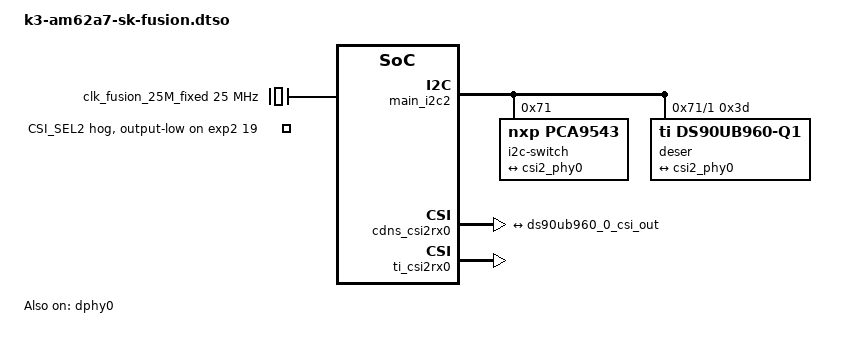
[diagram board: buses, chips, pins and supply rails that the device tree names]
// SPDX-License-Identifier: GPL-2.0
/*
 * DT Overlay for Fusion (FPD-Link III) board on SK-AM62A
 * Copyright (C) 2023 Texas Instruments Incorporated - http://www.ti.com/
 */

/dts-v1/;
/plugin/;

#include <dt-bindings/gpio/gpio.h>

&{/} {
	clk_fusion_25M_fixed: fixed-clock-25M {
		compatible = "fixed-clock";
		#clock-cells = <0>;
		clock-frequency = <25000000>;
	};
};

&exp2 {
	p19-hog {
		/* P19 - CSI_SEL2 */
		gpio-hog;
		gpios = <19 GPIO_ACTIVE_HIGH>;
		output-low;
		line-name = "CSI_SEL2";
	};
};

&main_i2c2 {
	#address-cells = <1>;
	#size-cells = <0>;
	status = "okay";

	i2c-switch@71 {
		compatible = "nxp,pca9543";
		#address-cells = <1>;
		#size-cells = <0>;
		reg = <0x71>;

		i2c@1 {
			#address-cells = <1>;
			#size-cells = <0>;
			reg = <1>;

			deser@3d {
				compatible = "ti,ds90ub960-q1";
				reg = <0x3d>;

				clock-names = "refclk";
				clocks = <&clk_fusion_25M_fixed>;

				i2c-alias-pool = <0x4a 0x4b 0x4c 0x4d 0x4e 0x4f>;

				ds90ub960_0_ports: ports {
					#address-cells = <1>;
					#size-cells = <0>;

					/* CSI-2 TX */
					port@4 {
						reg = <4>;
						ds90ub960_0_csi_out: endpoint {
							data-lanes = <1 2 3 4>;
							clock-lanes = <0>;
							link-frequencies = /bits/ 64 <800000000>;
							remote-endpoint = <&csi2_phy0>;
						};
					};
				};

				ds90ub960_0_links: links {
					#address-cells = <1>;
					#size-cells = <0>;
				};
			};
		};
	};
};

&cdns_csi2rx0 {
	ports {
		#address-cells = <1>;
		#size-cells = <0>;

		csi0_port0: port@0 {
			reg = <0>;
			status = "okay";

			csi2_phy0: endpoint {
				remote-endpoint = <&ds90ub960_0_csi_out>;
				data-lanes = <1 2 3 4>;
				clock-lanes = <0>;
				link-frequencies = /bits/ 64 <800000000>;
			};
		};
	};
};

&ti_csi2rx0 {
	status = "okay";
};

&dphy0 {
	status = "okay";
};
